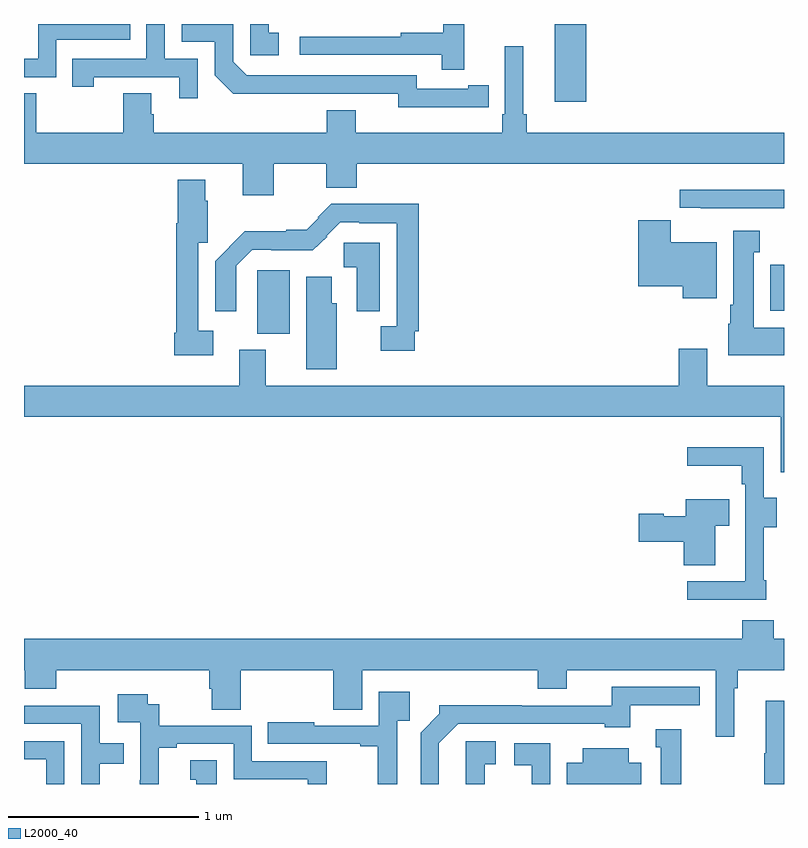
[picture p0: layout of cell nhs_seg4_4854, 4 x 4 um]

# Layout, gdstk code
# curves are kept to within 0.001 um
import gdstk
lib = gdstk.Library(unit=1e-6, precision=1e-09)
def R(c, l, rs):  # rectangles x0, y0, x1, y1
    for r in rs: c.add(gdstk.rectangle(r[:2], r[2:], *l))
def P(c, l, *ps):  # polygons
    for p in ps: c.add(gdstk.Polygon(p, *l))
L2000_40 = (2000, 40)

nhs_seg4_4854 = lib.new_cell('nhs_seg4_4854')
R(nhs_seg4_4854, L2000_40, [(374.228,785.27,374.398,785.604), (376.928,785.39,377,785.632), (375.794,786.492,375.958,786.9)])
P(nhs_seg4_4854, L2000_40, [(373.17,786.816),(373.559,786.816),(373.559,786.9),(373.074,786.9),(373.074,786.717),(373,786.717),(373,786.621),(373.17,786.621)],
  [(374.341,786.855),(374.288,786.855),(374.288,786.9),(374.19,786.9),(374.19,786.735),(374.341,786.735)],
  [(373.914,786.717),(373.74,786.717),(373.74,786.9),(373.644,786.9),(373.644,786.717),(373.255,786.717),(373.255,786.57),(373.366,786.57),(373.366,786.621),(373.817,786.621),(373.817,786.51),(373.914,786.51)],
  [(375.338,786.462),(375.446,786.462),(375.446,786.578),(375.338,786.578),(375.338,786.558),(375.066,786.558),(375.066,786.63),(374.172,786.63),(374.1,786.702),(374.1,786.9),(373.83,786.9),(373.83,786.807),(374.004,786.807),(374.004,786.63),(374.102,786.533),(374.97,786.534),(374.97,786.461)],
  [(375.317,786.9),(375.207,786.9),(375.207,786.854),(374.983,786.854),(374.983,786.834),(374.451,786.834),(374.451,786.738),(375.199,786.738),(375.199,786.66),(375.317,786.66)],
  [(374.314,786.164),(374.591,786.164),(374.591,786.038),(374.752,786.038),(374.752,786.164),(377,786.164),(377,786.328),(375.647,786.328),(375.647,786.424),(375.628,786.424),(375.628,786.784),(375.531,786.784),(375.531,786.424),(375.518,786.424),(375.518,786.328),(374.746,786.328),(374.746,786.445),(374.594,786.445),(374.594,786.328),(373.682,786.328),(373.682,786.426),(373.669,786.426),(373.669,786.536),(373.522,786.536),(373.522,786.328),(373.065,786.328),(373.065,786.536),(373,786.536),(373,786.164),(374.15,786.164),(374.15,786),(374.314,786)],
  [(373.996,785.286),(373.917,785.286),(373.917,785.748),(373.967,785.748),(373.967,785.969),(373.954,785.969),(373.954,786.079),(373.808,786.079),(373.808,785.851),(373.801,785.851),(373.801,785.274),(373.79,785.274),(373.79,785.156),(373.996,785.156)],
  [(377,786.028),(376.452,786.028),(376.452,785.933),(376.561,785.933),(376.561,785.931),(377,785.931)],
  [(375.057,785.284),(375.077,785.284),(375.077,785.953),(374.617,785.953),(374.547,785.883),(374.551,785.879),(374.489,785.817),(374.381,785.817),(374.381,785.809),(374.161,785.809),(374.006,785.652),(374.006,785.388),(374.118,785.388),(374.118,785.628),(374.202,785.712),(374.302,785.712),(374.302,785.708),(374.521,785.708),(374.595,785.781),(374.592,785.784),(374.664,785.856),(374.764,785.856),(374.764,785.852),(374.961,785.852),(374.961,785.308),(374.878,785.308),(374.878,785.18),(375.057,785.18)],
  [(376.645,785.752),(376.405,785.752),(376.405,785.868),(376.232,785.868),(376.232,785.519),(376.466,785.519),(376.466,785.456),(376.645,785.456)],
  [(377,785.302),(376.84,785.302),(376.84,785.699),(376.873,785.699),(376.873,785.812),(376.733,785.812),(376.733,785.422),(376.718,785.422),(376.718,785.322),(376.706,785.322),(376.706,785.156),(377,785.156)],
  [(374.872,785.75),(374.682,785.75),(374.682,785.621),(374.75,785.621),(374.75,785.389),(374.872,785.389)],
  [(374.647,785.43),(374.62,785.43),(374.62,785.569),(374.486,785.569),(374.486,785.082),(374.647,785.082)],
  [(377,784.996),(376.597,784.996),(376.597,785.191),(376.445,785.191),(376.445,784.996),(374.272,784.996),(374.272,785.185),(374.132,785.185),(374.132,784.996),(373,784.996),(373,784.832),(376.983,784.832),(376.983,784.542),(377,784.542)],
  [(376.906,783.973),(376.893,783.973),(376.893,784.252),(376.963,784.252),(376.963,784.407),(376.893,784.407),(376.893,784.672),(376.491,784.672),(376.491,784.574),(376.777,784.574),(376.777,784.478),(376.797,784.478),(376.797,784.163),(376.796,784.163),(376.796,783.966),(376.491,783.966),(376.491,783.87),(376.906,783.87)],
  [(376.639,784.259),(376.712,784.259),(376.712,784.399),(376.484,784.399),(376.484,784.309),(376.368,784.309),(376.368,784.322),(376.236,784.322),(376.236,784.175),(376.472,784.175),(376.472,784.051),(376.639,784.051)],
  [(376.738,783.404),(376.757,783.404),(376.757,783.5),(377,783.5),(377,783.664),(376.946,783.664),(376.946,783.763),(376.781,783.763),(376.781,783.664),(373,783.664),(373,783.5),(373.004,783.5),(373.004,783.401),(373.169,783.401),(373.169,783.5),(373.976,783.5),(373.976,783.402),(373.988,783.402),(373.988,783.292),(374.141,783.292),(374.141,783.5),(374.627,783.5),(374.627,783.292),(374.779,783.292),(374.779,783.5),(375.704,783.5),(375.704,783.401),(375.856,783.401),(375.856,783.5),(376.641,783.5),(376.641,783.15),(376.738,783.15)],
  [(375.184,783.115),(375.285,783.216),(376.056,783.216),(376.056,783.2),(376.192,783.2),(376.192,783.315),(376.556,783.315),(376.556,783.411),(376.093,783.411),(376.093,783.312),(375.62,783.312),(375.62,783.314),(375.186,783.314),(375.186,783.269),(375.087,783.17),(375.087,782.9),(375.184,782.9)],
  [(374.964,783.233),(375.029,783.233),(375.029,783.385),(374.868,783.385),(374.868,783.207),(374.527,783.207),(374.527,783.226),(374.284,783.226),(374.284,783.111),(374.771,783.111),(374.771,783.099),(374.863,783.099),(374.863,782.9),(374.964,782.9)],
  [(373.708,783.091),(373.804,783.091),(373.804,783.111),(374.103,783.111),(374.103,782.925),(374.493,782.925),(374.493,782.9),(374.594,782.9),(374.594,783.021),(374.199,783.021),(374.199,783.207),(373.712,783.207),(373.712,783.321),(373.65,783.321),(373.65,783.373),(373.494,783.373),(373.494,783.225),(373.611,783.225),(373.611,782.921),(373.61,782.921),(373.61,782.9),(373.708,782.9)],
  [(377,783.337),(376.904,783.337),(376.904,783.062),(376.897,783.062),(376.897,782.9),(377,782.9)],
  [(373.399,783.006),(373.526,783.006),(373.526,783.114),(373.398,783.114),(373.398,783.312),(373,783.312),(373,783.216),(373.302,783.216),(373.302,782.9),(373.399,782.9)],
  [(376.459,783.187),(376.325,783.187),(376.325,783.093),(376.35,783.093),(376.35,782.9),(376.459,782.9)],
  [(373.212,783.126),(373,783.126),(373,783.03),(373.116,783.03),(373.116,782.9),(373.212,782.9)],
  [(375.426,783.003),(375.484,783.003),(375.484,783.124),(375.326,783.124),(375.326,782.9),(375.426,782.9)],
  [(375.771,783.114),(375.579,783.114),(375.579,782.998),(375.673,782.998),(375.673,782.9),(375.771,782.9)],
  [(376.249,783.013),(376.183,783.013),(376.183,783.088),(375.941,783.088),(375.941,783.013),(375.856,783.013),(375.856,782.9),(376.249,782.9)],
  [(374.014,783.026),(373.874,783.026),(373.874,782.923),(373.907,782.923),(373.907,782.9),(374.014,782.9)])

lib.write_gds('nhs_seg4_4854.gds')
